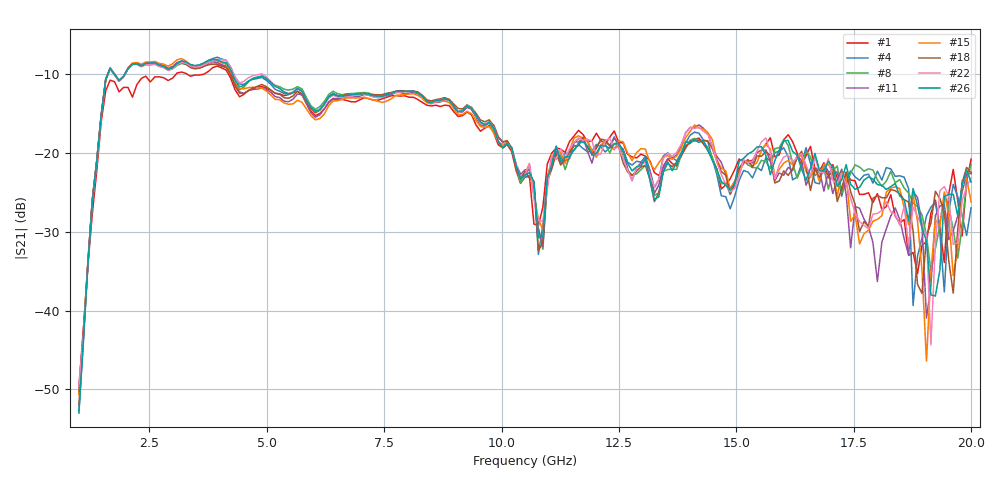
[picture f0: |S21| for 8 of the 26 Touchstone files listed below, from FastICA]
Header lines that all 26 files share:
!Agilent Technologies,N5230A,MY45001629,A.07.50.67
!Agilent N5230A: A.07.50.67
!Correction: S11(Full 2 Port(1,2))
!S21(Full 2 Port(1,2))
!S12(Full 2 Port(1,2))
!S22(Full 2 Port(1,2))
!S2P File: Measurements: S11, S21, S12, S22:
# Hz S  dB  R 50
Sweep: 1 GHz to 20 GHz
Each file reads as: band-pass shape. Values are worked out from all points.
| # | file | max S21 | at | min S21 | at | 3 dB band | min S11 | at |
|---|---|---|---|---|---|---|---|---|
| 1 | s21_10.s2p | -8.95 dB | 3.945 GHz | -49.7 dB | 1 GHz | 2.235 GHz-4.23 GHz | -35.2 dB | 6.51 GHz |
| 2 | strips_01.s2p | -8.13 dB | 3.85 GHz | -52.7 dB | 1 GHz | 1.57 GHz-4.325 GHz | -34.6 dB | 14.96 GHz |
| 3 | strips_02.s2p | -7.93 dB | 3.945 GHz | -50.4 dB | 1 GHz | 1.57 GHz-4.325 GHz | -34.9 dB | 6.51 GHz |
| 4 | strips_03.s2p | -7.84 dB | 3.945 GHz | -52.8 dB | 1 GHz | 1.95 GHz-4.325 GHz | -34.6 dB | 6.51 GHz |
| 5 | strips_04.s2p | -7.93 dB | 3.945 GHz | -51.5 dB | 1 GHz | 1.57 GHz-4.325 GHz | -34.4 dB | 6.51 GHz |
| 6 | strips_05.s2p | -8.10 dB | 3.945 GHz | -50.9 dB | 1 GHz | 1.57 GHz-5.085 GHz | -34.6 dB | 6.51 GHz |
| 7 | strips_06.s2p | -8.44 dB | 3.945 GHz | -59.1 dB | 19.05 GHz | 1.57 GHz-5.275 GHz | -35.4 dB | 6.51 GHz |
| 8 | strips_07.s2p | -8.62 dB | 3.185 GHz | -50.7 dB | 1 GHz | 1.57 GHz-4.325 GHz | -36.5 dB | 6.51 GHz |
| 9 | strips_08.s2p | -8.60 dB | 3.185 GHz | -53.6 dB | 1 GHz | 1.57 GHz-4.325 GHz | -34.0 dB | 14.96 GHz |
| 10 | strips_09.s2p | -8.45 dB | 3.185 GHz | -50.4 dB | 1 GHz | 1.57 GHz-4.23 GHz | -40.0 dB | 15.82 GHz |
| 11 | strips_10.s2p | -8.30 dB | 3.185 GHz | -50.1 dB | 1 GHz | 1.57 GHz-4.23 GHz | -38.1 dB | 14.96 GHz |
| 12 | strips_11.s2p | -8.13 dB | 3.185 GHz | -49.8 dB | 1 GHz | 1.57 GHz-4.23 GHz | -41.3 dB | 14.96 GHz |
| 13 | strips_12.s2p | -8.00 dB | 3.185 GHz | -55.7 dB | 19.24 GHz | 1.57 GHz-4.325 GHz | -35.8 dB | 11.54 GHz |
| 14 | strips_13.s2p | -7.93 dB | 3.185 GHz | -50.2 dB | 1 GHz | 1.57 GHz-4.325 GHz | -37.2 dB | 14.96 GHz |
| 15 | strips_14.s2p | -8.01 dB | 3.185 GHz | -50.6 dB | 1 GHz | 1.57 GHz-4.325 GHz | -35.4 dB | 14.96 GHz |
| 16 | strips_15.s2p | -8.15 dB | 3.185 GHz | -52.8 dB | 1 GHz | 1.57 GHz-4.325 GHz | -37.7 dB | 14.96 GHz |
| 17 | strips_16.s2p | -8.27 dB | 3.185 GHz | -52.8 dB | 1 GHz | 1.57 GHz-4.23 GHz | -35.2 dB | 14.96 GHz |
| 18 | strips_17.s2p | -8.50 dB | 3.185 GHz | -52.0 dB | 1 GHz | 1.57 GHz-4.325 GHz | -35.3 dB | 15.82 GHz |
| 19 | strips_18.s2p | -8.62 dB | 3.185 GHz | -50.1 dB | 1 GHz | 1.57 GHz-4.325 GHz | -32.2 dB | 6.51 GHz |
| 20 | strips_19.s2p | -8.67 dB | 3.185 GHz | -53.7 dB | 1 GHz | 1.57 GHz-4.325 GHz | -36.1 dB | 6.51 GHz |
| 21 | strips_20.s2p | -8.49 dB | 3.945 GHz | -52.1 dB | 1 GHz | 1.57 GHz-5.18 GHz | -38.0 dB | 6.51 GHz |
| 22 | strips_21.s2p | -8.11 dB | 3.945 GHz | -49.6 dB | 1 GHz | 1.57 GHz-5.085 GHz | -35.8 dB | 6.51 GHz |
| 23 | strips_22.s2p | -7.91 dB | 3.945 GHz | -52.2 dB | 18.86 GHz | 1.57 GHz-4.325 GHz | -34.5 dB | 6.51 GHz |
| 24 | strips_23.s2p | -7.81 dB | 3.945 GHz | -51.9 dB | 1 GHz | 1.95 GHz-4.325 GHz | -35.5 dB | 6.51 GHz |
| 25 | strips_24.s2p | -7.93 dB | 3.945 GHz | -52.5 dB | 1 GHz | 1.57 GHz-4.325 GHz | -36.1 dB | 6.51 GHz |
| 26 | strips_25.s2p | -8.12 dB | 3.85 GHz | -53.0 dB | 1 GHz | 1.57 GHz-4.325 GHz | -35.4 dB | 6.51 GHz |
